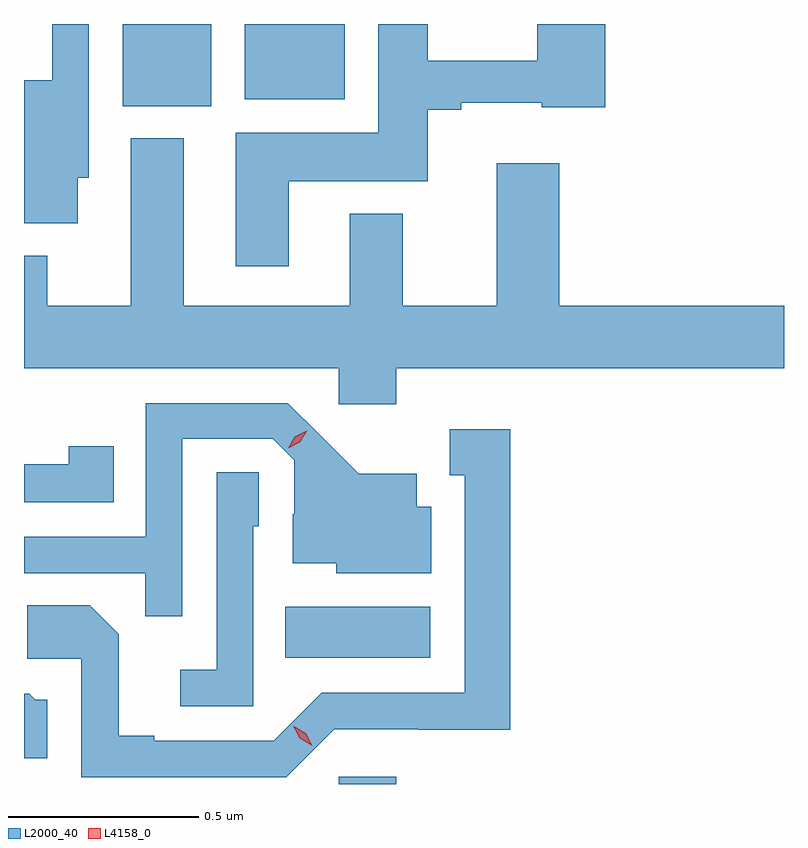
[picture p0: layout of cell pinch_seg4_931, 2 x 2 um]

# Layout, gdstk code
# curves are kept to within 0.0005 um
import gdstk
lib = gdstk.Library(unit=1e-6, precision=1e-09)
def R(c, l, rs):  # rectangles x0, y0, x1, y1
    for r in rs: c.add(gdstk.rectangle(r[:2], r[2:], *l))
def P(c, l, *ps):  # polygons
    for p in ps: c.add(gdstk.Polygon(p, *l))
L2000_40 = (2000, 40)
L4158_0 = (4158, 0)

pinch_seg4_931 = lib.new_cell('pinch_seg4_931')
R(pinch_seg4_931, L2000_40, [(740.016,827.694,740.168,827.713), (739.876,828.026,740.257,828.16), (739.448,829.478,739.681,829.694), (739.769,829.496,740.032,829.694)])
P(pinch_seg4_931, L2000_40, [(739.885,829.28),(740.25,829.28),(740.25,829.468),(740.338,829.468),(740.338,829.487),(740.55,829.487),(740.55,829.475),(740.717,829.475),(740.717,829.694),(740.539,829.694),(740.539,829.597),(740.25,829.597),(740.25,829.694),(740.12,829.694),(740.12,829.408),(739.745,829.408),(739.745,829.056),(739.885,829.056)],
  [(739.33,829.289),(739.359,829.289),(739.359,829.694),(739.262,829.694),(739.262,829.546),(739.188,829.546),(739.188,829.17),(739.33,829.17)],
  [(741.188,828.952),(740.596,828.952),(740.596,829.327),(740.432,829.327),(740.432,828.952),(740.185,828.952),(740.185,829.195),(740.045,829.195),(740.045,828.952),(739.609,828.952),(739.609,829.393),(739.469,829.393),(739.469,828.952),(739.249,828.952),(739.249,829.084),(739.188,829.084),(739.188,828.788),(740.016,828.788),(740.016,828.693),(740.168,828.693),(740.168,828.788),(741.188,828.788)],
  [(739.605,828.603),(739.842,828.603),(739.899,828.546),(739.899,828.404),(739.895,828.404),(739.895,828.275),(740.01,828.275),(740.01,828.248),(740.26,828.248),(740.26,828.424),(740.221,828.424),(740.221,828.511),(740.069,828.511),(739.882,828.696),(739.509,828.696),(739.509,828.345),(739.188,828.345),(739.188,828.249),(739.507,828.249),(739.507,828.136),(739.605,828.136)],
  [(740.004,827.838),(740.226,827.838),(740.226,827.837),(740.467,827.837),(740.467,828.628),(740.309,828.628),(740.309,828.507),(740.348,828.507),(740.348,827.934),(739.971,827.934),(739.845,827.808),(739.531,827.808),(739.531,827.821),(739.437,827.821),(739.437,828.088),(739.361,828.164),(739.197,828.164),(739.197,828.024),(739.338,828.024),(739.338,827.712),(739.878,827.712)],
  [(739.424,828.583),(739.306,828.583),(739.306,828.536),(739.188,828.536),(739.188,828.435),(739.424,828.435)],
  [(739.791,828.372),(739.806,828.372),(739.806,828.515),(739.695,828.515),(739.695,827.995),(739.599,827.995),(739.599,827.898),(739.791,827.898)],
  [(739.249,827.916),(739.218,827.916),(739.202,827.932),(739.188,827.932),(739.188,827.762),(739.249,827.762)])
P(pinch_seg4_931, L4158_0, [(739.946,827.795),(739.914,827.814),(739.897,827.847),(739.897,827.847),(739.897,827.847),(739.929,827.828),(739.946,827.795),(739.946,827.795)],
  [(739.884,828.578),(739.884,828.578),(739.901,828.608),(739.932,828.623),(739.932,828.623),(739.932,828.622),(739.914,828.593),(739.884,828.578)])

lib.write_gds('pinch_seg4_931.gds')
